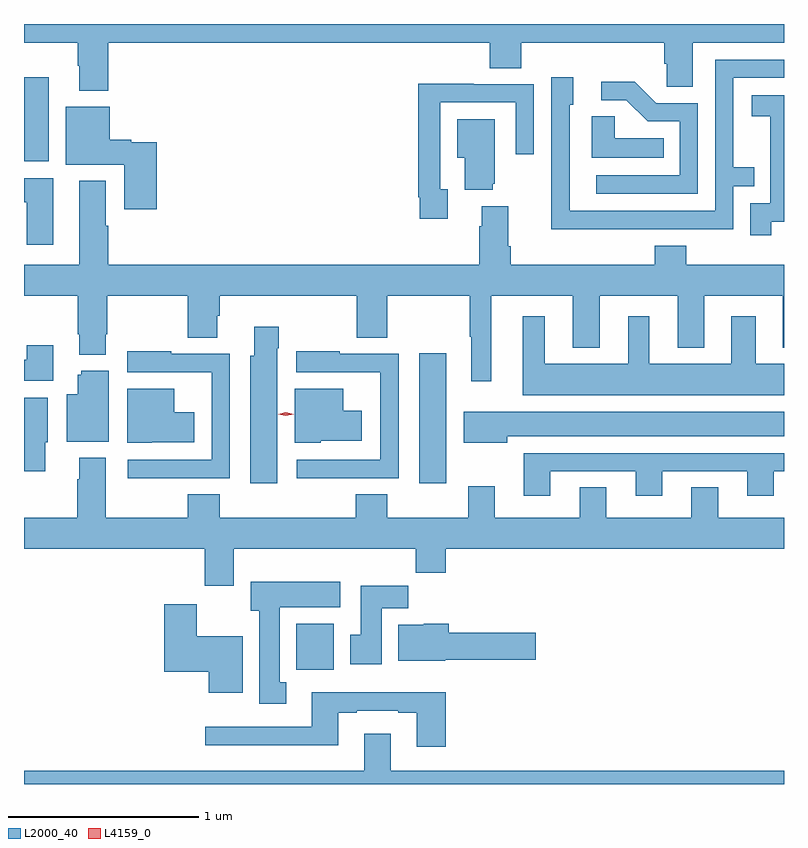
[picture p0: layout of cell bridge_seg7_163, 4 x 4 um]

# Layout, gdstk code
import gdstk
lib = gdstk.Library(unit=1e-6, precision=1e-09)
def R(c, l, rs):  # rectangles x0, y0, x1, y1
    for r in rs: c.add(gdstk.rectangle(r[:2], r[2:], *l))
def P(c, l, *ps):  # polygons
    for p in ps: c.add(gdstk.Polygon(p, *l))
L2000_40 = (2000, 40)
L4159_0 = (4159, 0)

bridge_seg7_163 = lib.new_cell('bridge_seg7_163')
R(bridge_seg7_163, L2000_40, [(467.504,1021.292,467.701,1021.534), (468.149,1022.274,468.292,1022.959), (466.07,1023.968,466.201,1024.411)])
P(bridge_seg7_163, L2000_40, [(466.514,1024.592),(468.521,1024.592),(468.521,1024.459),(468.686,1024.459),(468.686,1024.592),(469.439,1024.592),(469.439,1024.483),(469.452,1024.483),(469.452,1024.36),(469.591,1024.36),(469.591,1024.592),(470.07,1024.592),(470.07,1024.691),(466.07,1024.691),(466.07,1024.592),(466.354,1024.592),(466.354,1024.472),(466.361,1024.472),(466.361,1024.34),(466.514,1024.34)],
  [(469.307,1023.612),(469.803,1023.612),(469.803,1023.837),(469.913,1023.837),(469.913,1023.938),(469.803,1023.938),(469.803,1024.407),(470.07,1024.407),(470.07,1024.503),(469.707,1024.503),(469.707,1023.708),(468.942,1023.708),(468.942,1024.266),(468.961,1024.266),(468.961,1024.411),(468.846,1024.411),(468.846,1023.917),(468.844,1023.917),(468.844,1023.611),(469.307,1023.611)],
  [(469.617,1024.275),(469.398,1024.275),(469.285,1024.388),(469.107,1024.388),(469.107,1024.29),(469.241,1024.29),(469.352,1024.179),(469.521,1024.179),(469.521,1023.894),(469.083,1023.894),(469.083,1023.798),(469.617,1023.798)],
  [(468.301,1023.822),(468.261,1023.822),(468.261,1024.278),(468.657,1024.278),(468.657,1024.005),(468.753,1024.005),(468.753,1024.374),(468.437,1024.374),(468.437,1024.376),(468.145,1024.376),(468.145,1023.778),(468.153,1023.778),(468.153,1023.666),(468.301,1023.666)],
  [(470.002,1023.649),(470.07,1023.649),(470.07,1024.315),(469.899,1024.315),(469.899,1024.205),(469.997,1024.205),(469.997,1023.977),(469.998,1023.977),(469.998,1023.747),(469.893,1023.747),(469.893,1023.579),(470.002,1023.579)],
  [(466.769,1024.069),(466.635,1024.069),(466.635,1024.082),(466.522,1024.082),(466.522,1024.255),(466.289,1024.255),(466.289,1023.95),(466.598,1023.95),(466.598,1023.717),(466.769,1023.717)],
  [(469.436,1024.09),(469.179,1024.09),(469.179,1024.205),(469.058,1024.205),(469.058,1023.986),(469.436,1023.986)],
  [(468.536,1023.849),(468.547,1023.849),(468.547,1024.189),(468.35,1024.189),(468.35,1023.986),(468.389,1023.986),(468.389,1023.818),(468.536,1023.818)],
  [(466.225,1023.88),(466.07,1023.88),(466.07,1023.752),(466.085,1023.752),(466.085,1023.528),(466.225,1023.528)],
  [(468.529,1023.26),(468.959,1023.26),(468.959,1022.987),(469.099,1022.987),(469.099,1023.26),(469.511,1023.26),(469.511,1022.987),(469.651,1022.987),(469.651,1023.26),(470.063,1023.26),(470.063,1022.987),(470.07,1022.987),(470.07,1023.424),(469.556,1023.424),(469.556,1023.523),(469.391,1023.523),(469.391,1023.424),(468.632,1023.424),(468.632,1023.52),(468.619,1023.52),(468.619,1023.733),(468.479,1023.733),(468.479,1023.626),(468.467,1023.626),(468.467,1023.424),(466.514,1023.424),(466.514,1023.629),(466.501,1023.629),(466.501,1023.865),(466.361,1023.865),(466.361,1023.424),(466.07,1023.424),(466.07,1023.26),(466.354,1023.26),(466.354,1023.058),(466.361,1023.058),(466.361,1022.951),(466.501,1022.951),(466.501,1023.058),(466.509,1023.058),(466.509,1023.26),(466.933,1023.26),(466.933,1023.04),(467.086,1023.04),(467.086,1023.156),(467.099,1023.156),(467.099,1023.26),(467.821,1023.26),(467.821,1023.04),(467.982,1023.04),(467.982,1023.26),(468.415,1023.26),(468.415,1023.046),(468.425,1023.046),(468.425,1022.811),(468.529,1022.811)],
  [(470.07,1022.902),(469.921,1022.902),(469.921,1023.154),(469.793,1023.154),(469.793,1022.902),(469.36,1022.902),(469.36,1023.154),(469.25,1023.154),(469.25,1022.902),(468.811,1022.902),(468.811,1023.154),(468.695,1023.154),(468.695,1022.738),(470.07,1022.738)],
  [(467.404,1022.984),(467.412,1022.984),(467.412,1023.097),(467.282,1023.097),(467.282,1022.946),(467.261,1022.946),(467.261,1022.274),(467.404,1022.274)],
  [(466.225,1023.001),(466.085,1023.001),(466.085,1022.923),(466.07,1022.923),(466.07,1022.814),(466.225,1022.814)],
  [(466.844,1022.301),(467.154,1022.301),(467.154,1022.955),(466.844,1022.955),(466.844,1022.968),(466.614,1022.968),(466.614,1022.859),(467.057,1022.859),(467.057,1022.858),(467.058,1022.858),(467.058,1022.397),(466.617,1022.397),(466.617,1022.3),(466.844,1022.3)],
  [(467.732,1022.301),(468.042,1022.301),(468.042,1022.955),(467.732,1022.955),(467.732,1022.968),(467.502,1022.968),(467.502,1022.859),(467.945,1022.859),(467.945,1022.858),(467.946,1022.858),(467.946,1022.397),(467.505,1022.397),(467.505,1022.3),(467.732,1022.3)],
  [(466.516,1022.866),(466.371,1022.866),(466.371,1022.844),(466.352,1022.844),(466.352,1022.743),(466.295,1022.743),(466.295,1022.492),(466.516,1022.492)],
  [(466.743,1022.489),(466.966,1022.489),(466.966,1022.647),(466.861,1022.647),(466.861,1022.77),(466.613,1022.77),(466.613,1022.486),(466.743,1022.486)],
  [(467.631,1022.498),(467.848,1022.498),(467.848,1022.656),(467.749,1022.656),(467.749,1022.77),(467.495,1022.77),(467.495,1022.486),(467.631,1022.486)],
  [(466.183,1022.49),(466.195,1022.49),(466.195,1022.725),(466.07,1022.725),(466.07,1022.337),(466.183,1022.337)],
  [(468.613,1022.522),(470.07,1022.522),(470.07,1022.65),(468.384,1022.65),(468.384,1022.486),(468.613,1022.486)],
  [(468.841,1022.337),(469.289,1022.337),(469.289,1022.208),(469.429,1022.208),(469.429,1022.337),(469.877,1022.337),(469.877,1022.208),(470.017,1022.208),(470.017,1022.337),(470.07,1022.337),(470.07,1022.433),(468.701,1022.433),(468.701,1022.208),(468.841,1022.208)],
  [(467.173,1021.928),(468.133,1021.928),(468.133,1021.804),(468.29,1021.804),(468.29,1021.928),(470.07,1021.928),(470.07,1022.092),(469.723,1022.092),(469.723,1022.252),(469.583,1022.252),(469.583,1022.092),(469.135,1022.092),(469.135,1022.252),(468.995,1022.252),(468.995,1022.092),(468.547,1022.092),(468.547,1022.257),(468.407,1022.257),(468.407,1022.092),(467.982,1022.092),(467.982,1022.216),(467.816,1022.216),(467.816,1022.092),(467.099,1022.092),(467.099,1022.216),(466.933,1022.216),(466.933,1022.092),(466.501,1022.092),(466.501,1022.407),(466.361,1022.407),(466.361,1022.294),(466.349,1022.294),(466.349,1022.092),(466.07,1022.092),(466.07,1021.928),(467.021,1021.928),(467.021,1021.734),(467.173,1021.734)],
  [(467.449,1021.226),(467.416,1021.226),(467.416,1021.622),(467.734,1021.622),(467.734,1021.756),(467.264,1021.756),(467.264,1021.602),(467.309,1021.602),(467.309,1021.113),(467.449,1021.113)],
  [(467.953,1021.616),(468.092,1021.616),(468.092,1021.735),(467.843,1021.735),(467.843,1021.476),(467.786,1021.476),(467.786,1021.32),(467.953,1021.32)],
  [(467.221,1021.468),(466.978,1021.468),(466.978,1021.636),(466.808,1021.636),(466.808,1021.283),(467.042,1021.283),(467.042,1021.172),(467.221,1021.172)],
  [(468.288,1021.346),(468.763,1021.346),(468.763,1021.488),(468.305,1021.488),(468.305,1021.534),(468.174,1021.534),(468.174,1021.528),(468.041,1021.528),(468.041,1021.34),(468.288,1021.34)],
  [(468.29,1021.174),(467.585,1021.174),(467.585,1020.993),(467.025,1020.993),(467.025,1020.896),(467.725,1020.896),(467.725,1021.065),(467.821,1021.065),(467.821,1021.077),(468.041,1021.077),(468.041,1021.065),(468.137,1021.065),(468.137,1020.888),(468.29,1020.888)],
  [(470.07,1020.76),(468.001,1020.76),(468.001,1020.955),(467.861,1020.955),(467.861,1020.76),(466.07,1020.76),(466.07,1020.691),(470.07,1020.691)])
P(bridge_seg7_163, L4159_0, [(467.448,1022.628),(467.407,1022.638),(467.407,1022.638),(467.407,1022.638),(467.448,1022.648),(467.489,1022.638),(467.489,1022.638),(467.489,1022.638)])

lib.write_gds('bridge_seg7_163.gds')
